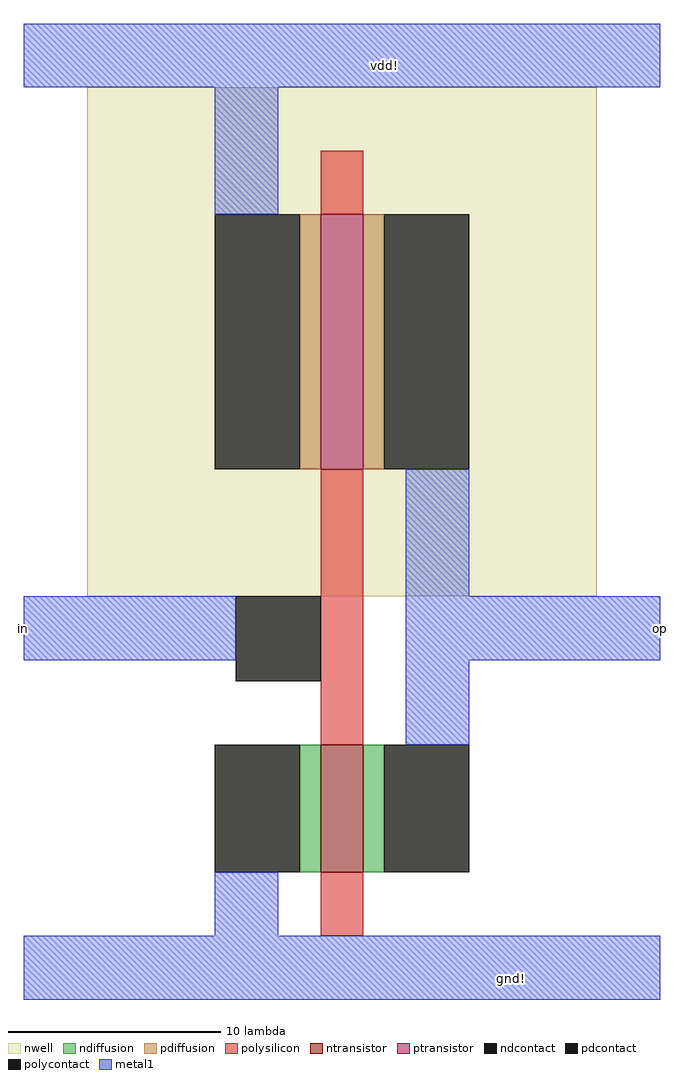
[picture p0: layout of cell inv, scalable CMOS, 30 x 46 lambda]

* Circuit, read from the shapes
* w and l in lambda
.subckt inv gnd! in op vdd!
M1 op in gnd! VSUBS nfet w=6 l=2
M2 op in vdd! n1 pfet w=12 l=2
.ends

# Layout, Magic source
magic
tech scmos
<< nwell >>
rect 0 6 24 30
<< ntransistor >>
rect 11 -7 13 -1
<< ptransistor >>
rect 11 12 13 24
<< ndiffusion >>
rect 10 -7 11 -1
rect 13 -7 14 -1
<< pdiffusion >>
rect 10 12 11 24
rect 13 12 14 24
<< ndcontact >>
rect 6 -7 10 -1
rect 14 -7 18 -1
<< pdcontact >>
rect 6 12 10 24
rect 14 12 18 24
<< polysilicon >>
rect 11 24 13 27
rect 11 -1 13 12
rect 11 -10 13 -7
<< polycontact >>
rect 7 2 11 6
<< metal1 >>
rect -3 30 27 33
rect 6 24 9 30
rect 15 6 18 12
rect -3 3 7 6
rect 15 3 27 6
rect 15 -1 18 3
rect 6 -10 9 -7
rect -3 -13 27 -10
<< labels >>
rlabel metal1 27 3 27 6 7 op
rlabel metal1 -3 3 -3 6 3 in
rlabel metal1 14 31 14 31 5 vdd!
rlabel metal1 20 -12 20 -12 1 gnd!
<< end >>
